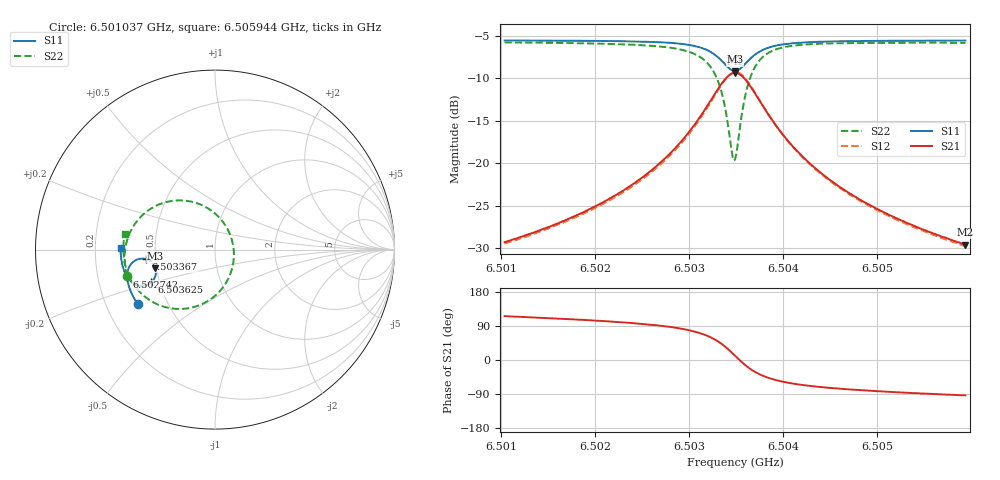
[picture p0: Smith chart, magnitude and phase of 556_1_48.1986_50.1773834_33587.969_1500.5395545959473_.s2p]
#  HZ  S  RI  R  50.00
! Rohde & Schwarz Vector Network Analyzer
! Rohde-Schwarz,ZNB20-2Port,1311601062101988,3.16
! Created: UTC 3/20/2024, 12:00:59 PM
! freq[Hz]  re:S11  im:S11  re:S21  im:S21  re:S12  im:S12  re:S22  im:S22
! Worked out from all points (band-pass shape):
!   401 points, 6.501037 GHz to 6.505944 GHz, reference 50 ohm
!   highest |S21| = -9.38 dB at 6.50349 GHz (marker M1); lowest = -29.6 dB at 6.505944 GHz (marker M2)
!   |S21| within 3 dB of the highest: 6.503246 GHz to 6.503736 GHz (490.1 kHz wide, 0.00754 % of centre)
!   lowest |S11| = -9.2 dB at 6.50349 GHz (marker M3), VSWR 2.07, Z = 24.6 - j5.79 ohm
!   |S11| at or under -10 dB: nowhere
!   |S22| runs from -19.7 to -5.8 dB; largest |S21 - S12| = 0.012
!   S11 on the Smith chart (normalised r, x): 6.501037 GHz: 0.34, -0.28; 6.502742 GHz: 0.33, -0.14; 6.503367 GHz: 0.44, -0.05; 6.503625 GHz: 0.45, -0.19; 6.505944 GHz: 0.31, +0.01
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6.5010367e9  -0.43 -0.3044  -0.0149 0.031  -0.0131 0.0311  -0.4916 -0.1479
6.5018586e9  -0.465 -0.2429  -0.0141 0.0491  -0.0117 0.0487  -0.5036 -0.0593
6.5023002e9  -0.4801 -0.2033  -0.0111 0.0682  -0.00813 0.0672  -0.5001 0.00463
6.5026805e9  -0.4889 -0.1607  -0.00149 0.0992  0.00201 0.0967  -0.4792 0.0822
6.5027418e9  -0.4893 -0.1524  0.00168 0.1065  0.00526 0.1037  -0.4721 0.0983
6.5029627e9  -0.4859 -0.1172  0.0235 0.1418  0.0273 0.1374  -0.4261 0.1691
6.5031221e9  -0.4711 -0.085  0.0631 0.1778  0.0659 0.1722  -0.3497 0.2328
6.5032694e9  -0.4334 -0.0553  0.1448 0.2068  0.1455 0.2007  -0.2008 0.2743
6.5033675e9  -0.3869 -0.0523  0.2362 0.1905  0.2366 0.186  -0.0424 0.2318
6.5034534e9  -0.3436 -0.0814  0.3152 0.116  0.3177 0.1119  0.0835 0.0851
6.5034779e9  -0.3355 -0.0956  0.3287 0.0841  0.332 0.0794  0.1008 0.0251
6.5034902e9  -0.3326 -0.1034  0.3331 0.0671  0.3367 0.0619  0.1048 -0.00654
6.5035147e9  -0.3295 -0.1198  0.3367 0.0323  0.3407 0.0258  0.1024 -0.0702
6.5035515e9  -0.3316 -0.1439  0.3293 -0.0181  0.3332 -0.0268  0.0755 -0.1594
6.5036251e9  -0.3538 -0.1813  0.2828 -0.0949  0.2829 -0.1062  -0.0346 -0.2832
6.5037233e9  -0.3948 -0.201  0.2043 -0.1385  0.1996 -0.1487  -0.1946 -0.3308
6.5038827e9  -0.4444 -0.1936  0.1159 -0.1381  0.1088 -0.1436  -0.3552 -0.2869
6.5040545e9  -0.4737 -0.1724  0.0677 -0.1173  0.0614 -0.1198  -0.4336 -0.2197
6.5043121e9  -0.4963 -0.1408  0.0347 -0.0905  0.0299 -0.091  -0.4813 -0.1417
6.5046924e9  -0.5122 -0.1007  0.0148 -0.0659  0.0116 -0.0655  -0.5045 -0.0639
6.505134e9  -0.5213 -0.0595  0.00504 -0.0493  0.00294 -0.0487  -0.5106 -0.000347
6.5059437e9  -0.5264 0.00961  -0.00182 -0.0332  -0.00346 -0.0323  -0.5031 0.0869
